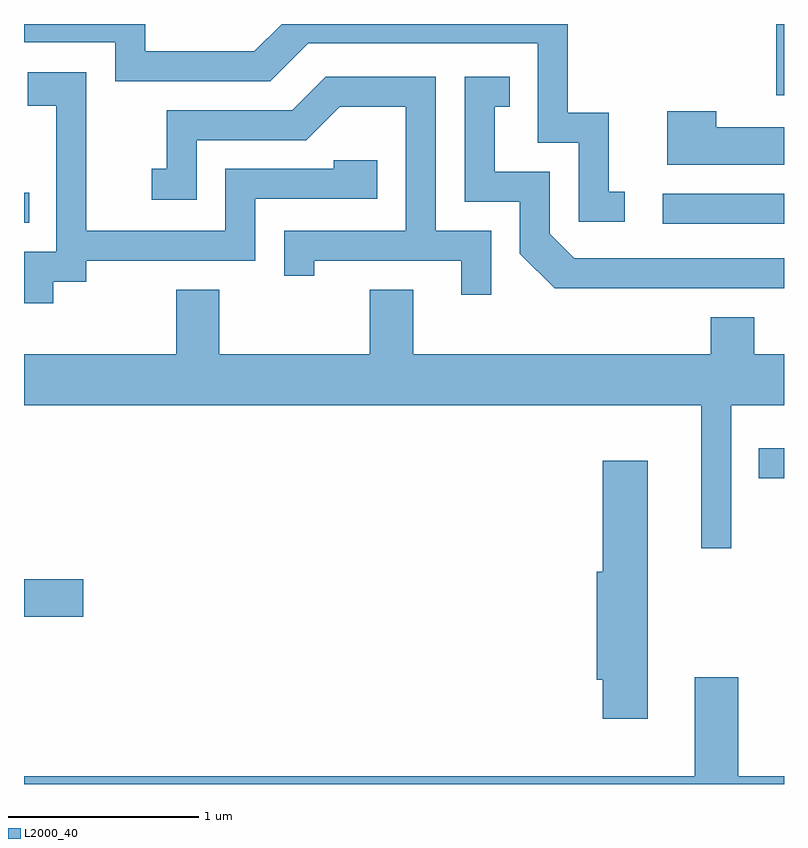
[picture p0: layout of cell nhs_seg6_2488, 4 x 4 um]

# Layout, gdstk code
import gdstk
lib = gdstk.Library(unit=1e-6, precision=1e-09)
def R(c, l, rs):  # rectangles x0, y0, x1, y1
    for r in rs: c.add(gdstk.rectangle(r[:2], r[2:], *l))
def P(c, l, *ps):  # polygons
    for p in ps: c.add(gdstk.Polygon(p, *l))
L2000_40 = (2000, 40)

nhs_seg6_2488 = lib.new_cell('nhs_seg6_2488')
R(nhs_seg6_2488, L2000_40, [(259.611,1651.041,259.924,1651.239), (263.478,1651.771,263.611,1651.929), (262.973,1653.111,263.611,1653.269), (259.611,1653.116,259.638,1653.274), (263.571,1653.786,263.611,1654.162)])
P(nhs_seg6_2488, L2000_40, [(262.773,1653.279),(262.689,1653.279),(262.689,1653.694),(262.474,1653.694),(262.474,1654.162),(260.967,1654.162),(260.824,1654.019),(260.249,1654.019),(260.249,1654.162),(259.611,1654.162),(259.611,1654.066),(260.091,1654.066),(260.091,1653.861),(260.907,1653.861),(261.106,1654.061),(262.316,1654.061),(262.316,1653.536),(262.531,1653.536),(262.531,1653.121),(262.773,1653.121)],
  [(259.764,1652.806),(259.939,1652.806),(259.939,1652.916),(260.829,1652.916),(260.829,1653.241),(261.469,1653.241),(261.469,1653.444),(261.241,1653.444),(261.241,1653.399),(260.671,1653.399),(260.671,1653.074),(259.939,1653.074),(259.939,1653.909),(259.631,1653.909),(259.631,1653.731),(259.781,1653.731),(259.781,1652.964),(259.611,1652.964),(259.611,1652.693),(259.764,1652.693)],
  [(263.611,1652.929),(262.507,1652.929),(262.379,1653.057),(262.379,1653.384),(262.089,1653.384),(262.089,1653.726),(262.168,1653.726),(262.168,1653.884),(261.931,1653.884),(261.931,1653.226),(262.221,1653.226),(262.221,1652.954),(262.404,1652.771),(263.611,1652.771)],
  [(262.069,1653.074),(261.779,1653.074),(261.779,1653.884),(261.199,1653.884),(261.024,1653.709),(260.361,1653.709),(260.361,1653.399),(260.283,1653.399),(260.283,1653.236),(260.519,1653.236),(260.519,1653.551),(261.097,1653.551),(261.272,1653.726),(261.621,1653.726),(261.621,1653.074),(260.981,1653.074),(260.981,1652.838),(261.139,1652.838),(261.139,1652.916),(261.911,1652.916),(261.911,1652.738),(262.069,1652.738)],
  [(263.611,1653.619),(263.254,1653.619),(263.254,1653.704),(262.996,1653.704),(262.996,1653.421),(263.611,1653.421)],
  [(263.334,1652.156),(263.611,1652.156),(263.611,1652.424),(263.454,1652.424),(263.454,1652.619),(263.226,1652.619),(263.226,1652.424),(261.659,1652.424),(261.659,1652.764),(261.431,1652.764),(261.431,1652.424),(260.639,1652.424),(260.639,1652.764),(260.411,1652.764),(260.411,1652.424),(259.611,1652.424),(259.611,1652.156),(263.176,1652.156),(263.176,1651.403),(263.334,1651.403)],
  [(262.894,1651.864),(262.656,1651.864),(262.656,1651.279),(262.626,1651.279),(262.626,1650.711),(262.656,1650.711),(262.656,1650.506),(262.894,1650.506)],
  [(263.611,1650.204),(263.369,1650.204),(263.369,1650.724),(263.141,1650.724),(263.141,1650.204),(259.611,1650.204),(259.611,1650.162),(263.611,1650.162)])

lib.write_gds('nhs_seg6_2488.gds')
